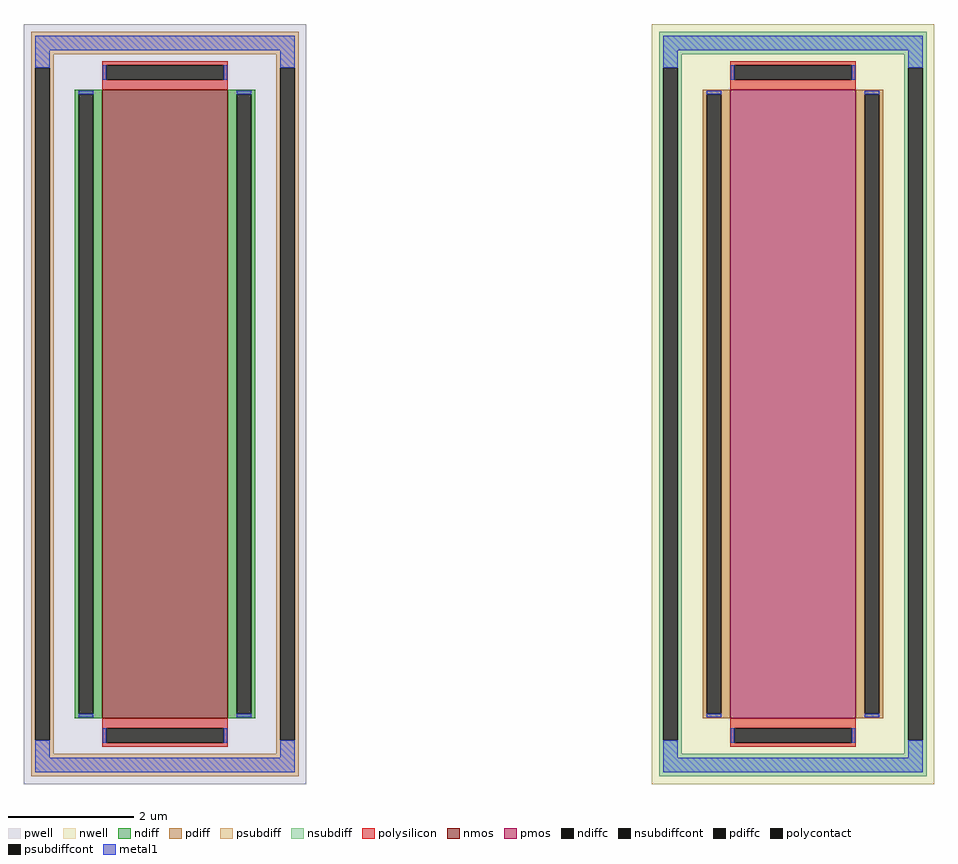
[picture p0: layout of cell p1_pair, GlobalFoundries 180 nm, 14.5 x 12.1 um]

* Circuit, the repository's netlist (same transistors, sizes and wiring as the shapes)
* NGSPICE file created from p1_pair.ext - technology: gf180mcuD

.subckt p1_pair
X0 a_2590_150# a_2190_58# a_2102_150# w_1940_n60# pfet_03v3 ad=4.4p pd=20.88u as=4.4p ps=20.88u w=10u l=2u
X1 a_590_150# a_190_58# a_102_150# a_n36_n36# nfet_03v3 ad=4.4p pd=20.88u as=4.4p ps=20.88u w=10u l=2u
.ends

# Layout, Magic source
magic
tech gf180mcuD
magscale 1 10
<< nwell >>
rect 1940 -60 2840 2360
<< pwell >>
rect -60 -60 840 2360
<< nmos >>
rect 190 150 590 2150
<< pmos >>
rect 2190 150 2590 2150
<< ndiff >>
rect 102 2137 190 2150
rect 102 163 115 2137
rect 161 163 190 2137
rect 102 150 190 163
rect 590 2137 678 2150
rect 590 163 619 2137
rect 665 163 678 2137
rect 590 150 678 163
<< pdiff >>
rect 2102 2137 2190 2150
rect 2102 163 2115 2137
rect 2161 163 2190 2137
rect 2102 150 2190 163
rect 2590 2137 2678 2150
rect 2590 163 2619 2137
rect 2665 163 2678 2137
rect 2590 150 2678 163
<< ndiffc >>
rect 115 163 161 2137
rect 619 163 665 2137
<< pdiffc >>
rect 2115 163 2161 2137
rect 2619 163 2665 2137
<< psubdiff >>
rect -36 2264 816 2336
rect -36 2220 36 2264
rect -36 80 -23 2220
rect 23 80 36 2220
rect 744 2220 816 2264
rect -36 36 36 80
rect 744 80 757 2220
rect 803 80 816 2220
rect 744 36 816 80
rect -36 -36 816 36
<< nsubdiff >>
rect 1964 2264 2816 2336
rect 1964 2220 2036 2264
rect 1964 80 1977 2220
rect 2023 80 2036 2220
rect 2744 2220 2816 2264
rect 1964 36 2036 80
rect 2744 80 2757 2220
rect 2803 80 2816 2220
rect 2744 36 2816 80
rect 1964 -36 2816 36
<< psubdiffcont >>
rect -23 80 23 2220
rect 757 80 803 2220
<< nsubdiffcont >>
rect 1977 80 2023 2220
rect 2757 80 2803 2220
<< polysilicon >>
rect 190 2229 590 2242
rect 190 2183 203 2229
rect 577 2183 590 2229
rect 190 2150 590 2183
rect 190 117 590 150
rect 190 71 203 117
rect 577 71 590 117
rect 190 58 590 71
rect 2190 2229 2590 2242
rect 2190 2183 2203 2229
rect 2577 2183 2590 2229
rect 2190 2150 2590 2183
rect 2190 117 2590 150
rect 2190 71 2203 117
rect 2577 71 2590 117
rect 2190 58 2590 71
<< polycontact >>
rect 203 2183 577 2229
rect 203 71 577 117
rect 2203 2183 2577 2229
rect 2203 71 2577 117
<< metal1 >>
rect -23 2277 803 2323
rect -23 2220 23 2277
rect 192 2183 203 2229
rect 577 2183 588 2229
rect 757 2220 803 2277
rect 115 2137 161 2148
rect 115 152 161 163
rect 619 2137 665 2148
rect 619 152 665 163
rect -23 23 23 80
rect 192 71 203 117
rect 577 71 588 117
rect 757 23 803 80
rect -23 -23 803 23
rect 1977 2277 2803 2323
rect 1977 2220 2023 2277
rect 2192 2183 2203 2229
rect 2577 2183 2588 2229
rect 2757 2220 2803 2277
rect 2115 2137 2161 2148
rect 2115 152 2161 163
rect 2619 2137 2665 2148
rect 2619 152 2665 163
rect 1977 23 2023 80
rect 2192 71 2203 117
rect 2577 71 2588 117
rect 2757 23 2803 80
rect 1977 -23 2803 23
<< end >>
